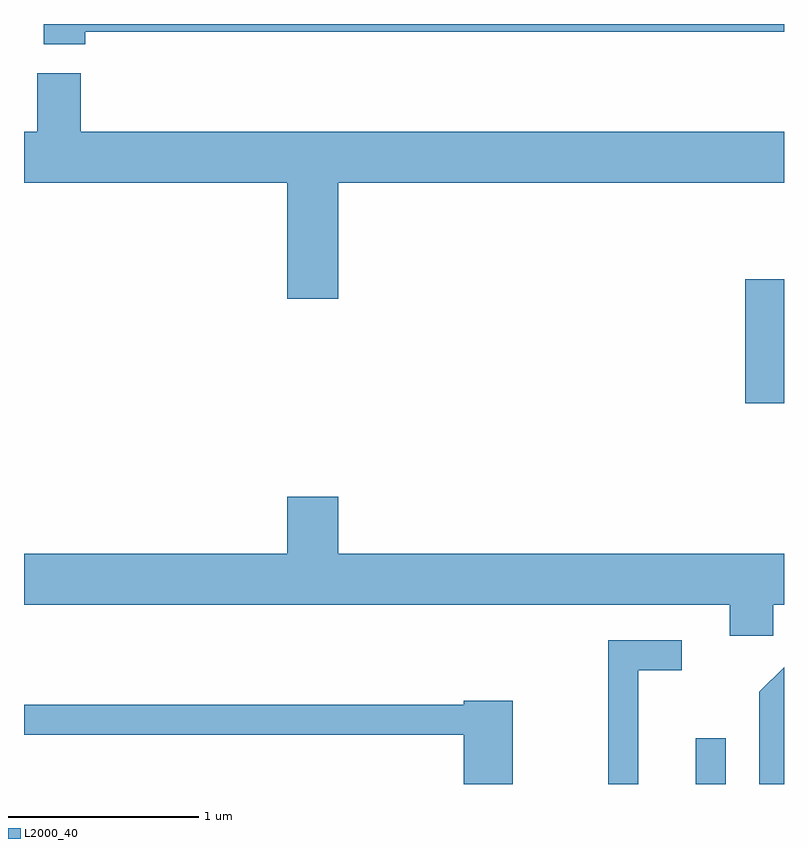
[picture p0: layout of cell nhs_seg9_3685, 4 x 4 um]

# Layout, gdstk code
import gdstk
lib = gdstk.Library(unit=1e-6, precision=1e-09)
def R(c, l, rs):  # rectangles x0, y0, x1, y1
    for r in rs: c.add(gdstk.rectangle(r[:2], r[2:], *l))
def P(c, l, *ps):  # polygons
    for p in ps: c.add(gdstk.Polygon(p, *l))
L2000_40 = (2000, 40)

nhs_seg9_3685 = lib.new_cell('nhs_seg9_3685')
R(nhs_seg9_3685, L2000_40, [(297.146,1986.432,297.304,1986.673), (297.406,1988.436,297.611,1989.089)])
P(nhs_seg9_3685, L2000_40, [(293.934,1990.391),(297.611,1990.391),(297.611,1990.432),(293.716,1990.432),(293.716,1990.326),(293.934,1990.326)],
  [(295.264,1989.596),(297.611,1989.596),(297.611,1989.864),(293.909,1989.864),(293.909,1990.174),(293.681,1990.174),(293.681,1989.864),(293.611,1989.864),(293.611,1989.596),(294.996,1989.596),(294.996,1988.986),(295.264,1988.986)],
  [(297.554,1987.376),(297.611,1987.376),(297.611,1987.644),(295.264,1987.644),(295.264,1987.944),(294.996,1987.944),(294.996,1987.644),(293.611,1987.644),(293.611,1987.376),(297.326,1987.376),(297.326,1987.211),(297.554,1987.211)],
  [(296.844,1987.031),(297.073,1987.031),(297.073,1987.189),(296.686,1987.189),(296.686,1986.432),(296.844,1986.432)],
  [(297.611,1987.047),(297.481,1986.917),(297.481,1986.432),(297.611,1986.432)],
  [(296.184,1986.869),(295.926,1986.869),(295.926,1986.849),(293.611,1986.849),(293.611,1986.691),(295.926,1986.691),(295.926,1986.432),(296.184,1986.432)])

lib.write_gds('nhs_seg9_3685.gds')
